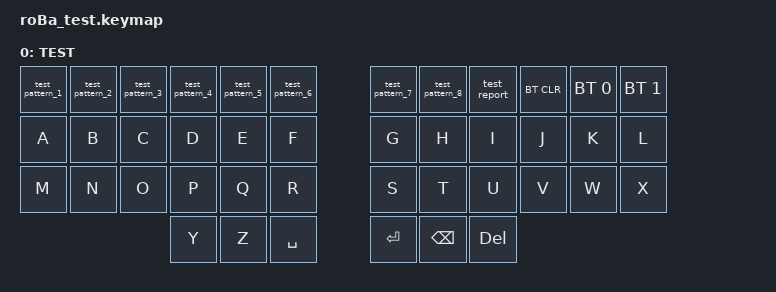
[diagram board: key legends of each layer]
/*
 * Trackball Through-hole Continuity Test Keymap
 * This keymap helps test which through-holes are connected
 * by using GPIO pins to send/receive signals
 */

#include <behaviors.dtsi>
#include <dt-bindings/zmk/keys.h>
#include <dt-bindings/zmk/bt.h>
#include <dt-bindings/zmk/outputs.h>

/ {
    macros {
        // Macro to cycle through test patterns
        test_pattern_1: test_pattern_1 {
            label = "TEST_PATTERN_1";
            compatible = "zmk,behavior-macro";
            #binding-cells = <0>;
            bindings = <&kp N1>;
        };
        
        test_pattern_2: test_pattern_2 {
            label = "TEST_PATTERN_2";
            compatible = "zmk,behavior-macro";
            #binding-cells = <0>;
            bindings = <&kp N2>;
        };
        
        test_pattern_3: test_pattern_3 {
            label = "TEST_PATTERN_3";
            compatible = "zmk,behavior-macro";
            #binding-cells = <0>;
            bindings = <&kp N3>;
        };
        
        test_pattern_4: test_pattern_4 {
            label = "TEST_PATTERN_4";
            compatible = "zmk,behavior-macro";
            #binding-cells = <0>;
            bindings = <&kp N4>;
        };
        
        test_pattern_5: test_pattern_5 {
            label = "TEST_PATTERN_5";
            compatible = "zmk,behavior-macro";
            #binding-cells = <0>;
            bindings = <&kp N5>;
        };
        
        test_pattern_6: test_pattern_6 {
            label = "TEST_PATTERN_6";
            compatible = "zmk,behavior-macro";
            #binding-cells = <0>;
            bindings = <&kp N6>;
        };
        
        test_pattern_7: test_pattern_7 {
            label = "TEST_PATTERN_7";
            compatible = "zmk,behavior-macro";
            #binding-cells = <0>;
            bindings = <&kp N7>;
        };
        
        test_pattern_8: test_pattern_8 {
            label = "TEST_PATTERN_8";
            compatible = "zmk,behavior-macro";
            #binding-cells = <0>;
            bindings = <&kp N8>;
        };
        
        test_report: test_report {
            label = "TEST_REPORT";
            compatible = "zmk,behavior-macro";
            #binding-cells = <0>;
            bindings = <&kp R &kp E &kp P &kp O &kp R &kp T &kp COLON &kp SPACE>;
        };
    };

    keymap {
        compatible = "zmk,keymap";

        test_layer {
            label = "TEST";
            bindings = <
// ╭──────────────┬──────────────┬──────────────┬──────────────┬──────────────┬──────────────╮   ╭──────────────┬──────────────┬──────────────┬──────────────┬──────────────┬──────────────╮
     &test_pattern_1 &test_pattern_2 &test_pattern_3 &test_pattern_4 &test_pattern_5 &test_pattern_6    &test_pattern_7 &test_pattern_8 &test_report    &bt BT_CLR     &bt BT_SEL 0   &bt BT_SEL 1
// ├──────────────┼──────────────┼──────────────┼──────────────┼──────────────┼──────────────┤   ├──────────────┼──────────────┼──────────────┼──────────────┼──────────────┼──────────────┤
     &kp A          &kp B          &kp C          &kp D          &kp E          &kp F                &kp G          &kp H          &kp I          &kp J          &kp K          &kp L
// ├──────────────┼──────────────┼──────────────┼──────────────┼──────────────┼──────────────┤   ├──────────────┼──────────────┼──────────────┼──────────────┼──────────────┼──────────────┤
     &kp M          &kp N          &kp O          &kp P          &kp Q          &kp R                &kp S          &kp T          &kp U          &kp V          &kp W          &kp X
// ╰──────────────┴──────────────┴──────────────┼──────────────┼──────────────┼──────────────┤   ├──────────────┼──────────────┼──────────────┼──────────────┴──────────────┴──────────────╯
                                                   &kp Y          &kp Z          &kp SPACE            &kp ENTER      &kp BSPC       &kp DEL
//                                               ╰──────────────┴──────────────┴──────────────╯   ╰──────────────┴──────────────┴──────────────╯
            >;
        };
    };
};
